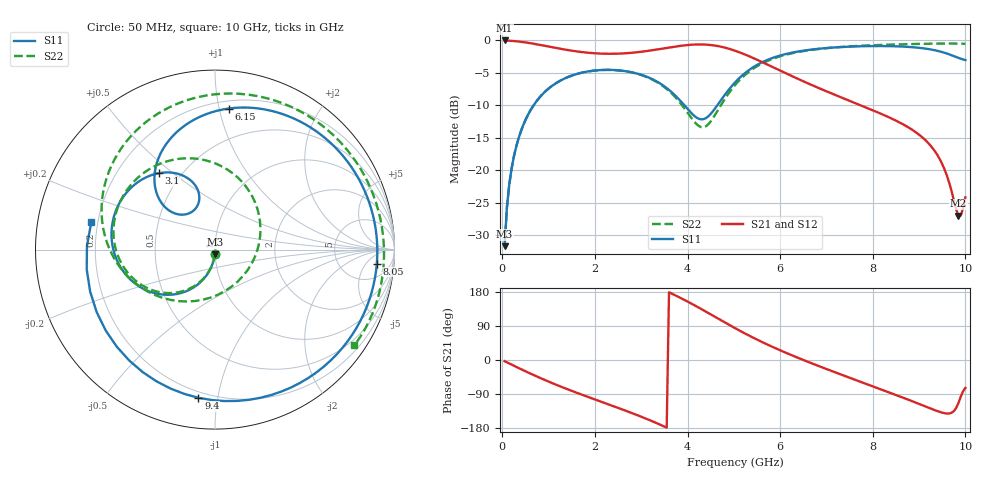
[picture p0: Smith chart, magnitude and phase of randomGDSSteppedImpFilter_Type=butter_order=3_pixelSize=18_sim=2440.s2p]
! freq	dB(S11)	phase(S11)	dB(S12)	phase(S12)
!  dB(S21)	phase(S21)	dB(S22)	phase(S22)
!S-par simulation data
#  GHz  S  DB  R 50
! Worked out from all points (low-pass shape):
!   200 points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, 50 MHz to 10 GHz, reference 50 ohm
!   highest |S21| = -0.01 dB at 50 MHz (marker M1); lowest = -27.0 dB at 9.85 GHz (marker M2)
!   |S21| within 3 dB of the highest: start of sweep to 5.51 GHz
!   lowest |S11| = -31.7 dB at 50 MHz (marker M3), VSWR 1.05, Z = 49.8 - j2.59 ohm
!   |S11| at or under -10 dB: start of sweep to 676.6 MHz; 3.932 GHz to 4.643 GHz (710.5 MHz wide, 16.6 % of centre)
!   |S22| runs from -31.7 to -0.5 dB; largest |S21 - S12| = 0
!   S11 on the Smith chart (normalised r, x): 50 MHz: 1.00, -0.05; 3.1 GHz: 0.38, +0.45; 6.15 GHz: 0.26, +1.07; 8.05 GHz: 11, -10; 9.4 GHz: 0.17, -0.88; 10 GHz: 0.17, +0.11
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0.05  -31.69 -93.1  -0.01 -3.1  -0.01 -3.1  -31.69 -93.2
0.2  -19.78 -102.4  -0.07 -12.1  -0.07 -12.1  -19.78 -102.9
0.5  -12.26 -119.7  -0.31 -29.8  -0.31 -29.8  -12.26 -121.0
1.05  -7.13 -148.6  -1.01 -59.6  -1.01 -59.6  -7.13 -151.6
1.75  -4.92 179.5  -1.82 -92.9  -1.82 -92.9  -4.92 173.6
2.4  -4.56 153.1  -2.06 -121.8  -2.06 -121.8  -4.56 142.4
3.1  -5.54 126.3  -1.66 -154.6  -1.66 -154.6  -5.59 104.6
3.4  -6.60 115.8  -1.33 -170.2  -1.33 -170.2  -6.69 84.6
4.15  -11.65 112.3  -0.64 144.4  -0.64 144.4  -12.55 -0.9
4.65  -9.93 139.1  -0.86 109.9  -0.86 109.9  -10.81 -103.9
5.05  -6.28 133.6  -1.65 82.4  -1.65 82.4  -6.68 -153.0
5.55  -3.58 112.6  -3.14 50.9  -3.14 50.9  -3.78 166.2
6.15  -2.05 84.4  -5.15 17.7  -5.15 17.7  -2.16 129.0
6.7  -1.39 58.9  -6.93 -9.6  -6.93 -9.6  -1.44 100.4
7.35  -1.01 28.9  -8.87 -39.9  -8.87 -39.9  -0.99 70.3
8.05  -0.87 -4.9  -10.91 -71.6  -10.91 -71.6  -0.73 40.5
8.35  -0.88 -20.7  -11.85 -85.3  -11.85 -85.3  -0.65 28.3
8.9  -1.07 -54.0  -14.00 -111.1  -14.00 -111.1  -0.55 6.7
9.4  -1.61 -96.4  -17.71 -135.1  -17.71 -135.1  -0.49 -12.1
9.65  -2.14 -127.7  -21.91 -141.1  -21.91 -141.1  -0.48 -21.4
9.85  -2.69 -161.4  -27.00 -113.3  -27.00 -113.3  -0.49 -28.8
10  -3.02 167.4  -24.17 -73.6  -24.17 -73.6  -0.52 -34.4
